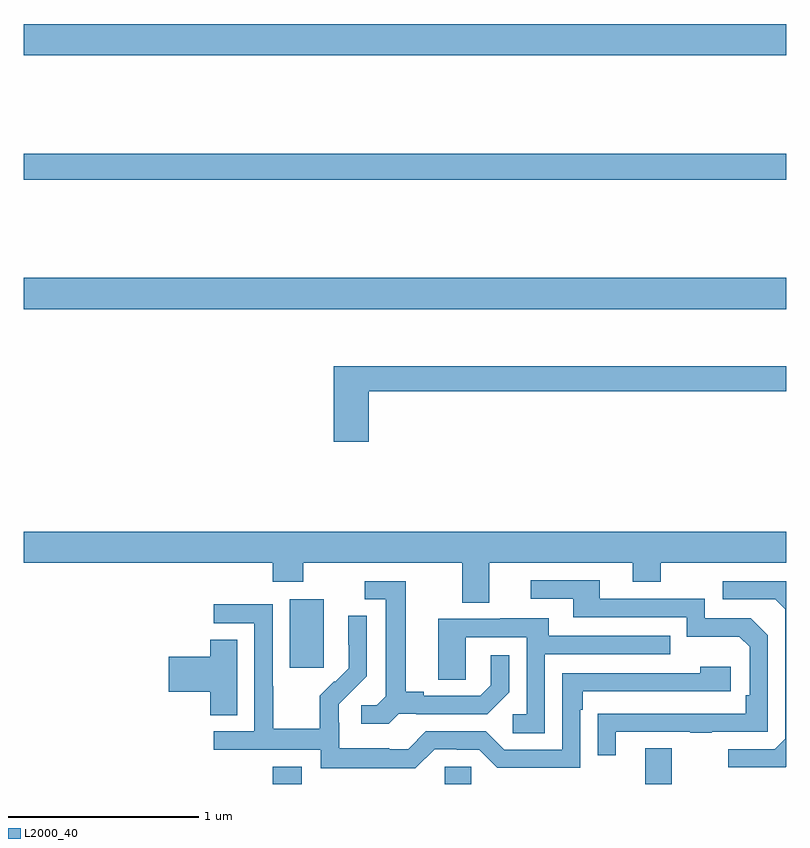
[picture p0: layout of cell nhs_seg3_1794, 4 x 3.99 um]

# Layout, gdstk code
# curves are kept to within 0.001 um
import gdstk
lib = gdstk.Library(unit=1e-6, precision=1e-09)
def R(c, l, rs):  # rectangles x0, y0, x1, y1
    for r in rs: c.add(gdstk.rectangle(r[:2], r[2:], *l))
def P(c, l, *ps):  # polygons
    for p in ps: c.add(gdstk.Polygon(p, *l))
L2000_40 = (2000, 40)

nhs_seg3_1794 = lib.new_cell('nhs_seg3_1794')
R(nhs_seg3_1794, L2000_40, [(204.305,722.4,204.457,722.491), (205.209,722.4,205.347,722.49), (206.261,722.4,206.401,722.587), (204.395,723.009,204.574,723.37), (203,724.892,207,725.056), (203,725.572,207,725.708), (203,726.224,207,726.388)])
P(nhs_seg3_1794, L2000_40, [(204.809,724.462),(207,724.462),(207,724.591),(204.626,724.591),(204.626,724.197),(204.809,724.197)],
  [(205.441,723.56),(206.195,723.56),(206.195,723.461),(206.343,723.461),(206.343,723.56),(207,723.56),(207,723.724),(203,723.724),(203,723.56),(204.305,723.56),(204.305,723.461),(204.465,723.461),(204.465,723.56),(205.301,723.56),(205.301,723.352),(205.441,723.352)],
  [(206.107,722.673),(206.497,722.673),(206.497,722.668),(206.609,722.668),(206.609,722.673),(206.904,722.673),(206.904,723.18),(206.814,723.27),(206.574,723.27),(206.574,723.372),(206.023,723.372),(206.023,723.468),(205.659,723.468),(205.659,723.372),(205.883,723.372),(205.883,723.276),(206.478,723.276),(206.478,723.173),(206.755,723.173),(206.808,723.12),(206.808,722.866),(206.788,722.866),(206.788,722.769),(206.011,722.768),(206.011,722.55),(206.107,722.55)],
  [(207,722.49),(207,723.465),(206.667,723.465),(206.667,723.369),(206.943,723.369),(206.994,723.318),(206.994,722.637),(206.94,722.583),(206.697,722.583),(206.697,722.487),(206.997,722.487)],
  [(204.966,722.769),(205.06,722.769),(205.06,722.766),(205.432,722.766),(205.548,722.882),(205.548,723.076),(205.451,723.076),(205.451,722.919),(205.394,722.862),(205.099,722.862),(205.099,722.885),(205.003,722.885),(205.003,723.465),(204.789,723.465),(204.789,723.369),(204.899,723.369),(204.899,722.861),(204.852,722.814),(204.771,722.814),(204.771,722.717),(204.914,722.717)],
  [(205.155,722.583),(205.271,722.583),(205.271,722.58),(205.389,722.58),(205.485,722.484),(205.92,722.484),(205.92,722.789),(205.933,722.789),(205.933,722.886),(206.71,722.886),(206.71,723.016),(206.549,723.016),(206.549,722.982),(205.824,722.982),(205.824,722.58),(205.521,722.58),(205.425,722.676),(205.11,722.676),(205.017,722.583),(204.917,722.583),(204.917,722.587),(204.654,722.587),(204.654,722.721),(204.652,722.721),(204.652,722.818),(204.798,722.966),(204.798,723.284),(204.702,723.284),(204.702,723.13),(204.704,723.13),(204.704,723.008),(204.633,722.937),(204.63,722.94),(204.553,722.863),(204.553,722.689),(204.309,722.689),(204.309,722.912),(204.306,722.912),(204.306,723.342),(203.997,723.342),(203.997,723.243),(204.21,723.243),(204.21,722.676),(203.997,722.676),(203.997,722.58),(204.558,722.58),(204.558,722.483),(205.055,722.483)],
  [(205.734,723.081),(206.393,723.081),(206.393,723.177),(205.753,723.177),(205.753,723.271),(205.499,723.271),(205.499,723.267),(205.175,723.267),(205.175,722.947),(205.32,722.947),(205.32,723.171),(205.638,723.171),(205.638,722.766),(205.566,722.766),(205.566,722.665),(205.734,722.665)],
  [(204.121,723.158),(203.978,723.158),(203.978,723.068),(203.76,723.068),(203.76,722.885),(203.978,722.885),(203.978,722.761),(204.121,722.761)])

lib.write_gds('nhs_seg3_1794.gds')
